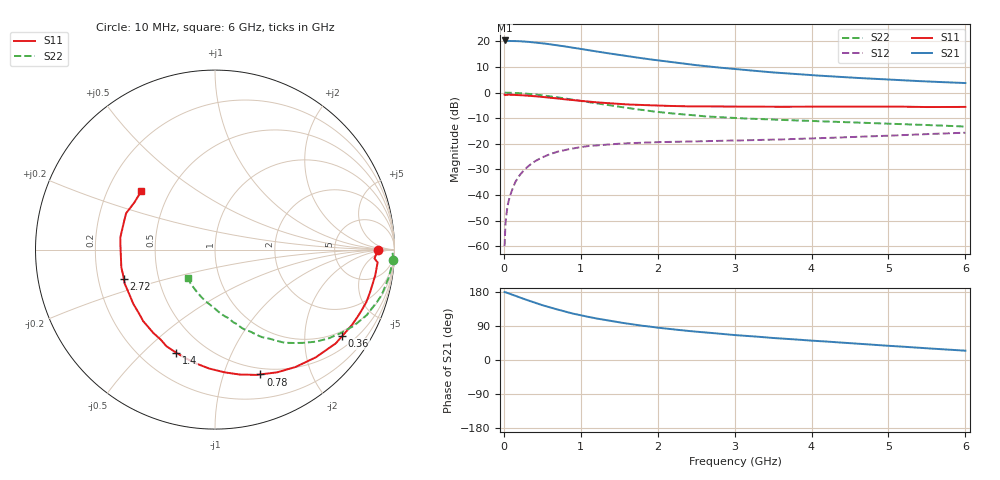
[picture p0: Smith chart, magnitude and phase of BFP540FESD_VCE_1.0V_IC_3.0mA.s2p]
! Infineon Technologies  Discrete & RF Semiconductors
! BFP540FESD
! VCE =  1.0 V,  IC =  3.0 mA
! Common Emitter S-Parameters:  Nov 2015
# GHz  S  MA  R  50
!  f  S11  S21  S12  S22
! GHz  MAG  ANG  MAG  ANG  MAG  ANG  MAG  ANG
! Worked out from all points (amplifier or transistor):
!   210 points, 10 MHz to 6 GHz, reference 50 ohm
!   highest |S21| = 20.3 dB at 10 MHz (marker M1)
!   |S21| within 3 dB of that: start of sweep to 934 MHz
!   unconditionally stable (mu >= 1): 3.101 GHz to end of sweep
!   at 185 MHz: K = 0.04, MSG = 26.6 dB, |S12| = -33.2 dB
!   at 1.52 GHz: K = 0.48, MSG = 17.3 dB, |S12| = -20.0 dB
!   at 6 GHz: K = 1.41, MAG = 5.9 dB, |S12| = -15.7 dB
!   S11 on the Smith chart (normalised r, x): 10 MHz: 21, -1; 360 MHz: 0.84, -3.04; 780 MHz: 0.43, -1.34; 1.4 GHz: 0.34, -0.63; 2.72 GHz: 0.31, -0.14; 6 GHz: 0.35, +0.31
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0.01  0.9083 -0.2  10.38 179.1  0.001 92.0  0.9932 -3.5
0.02  0.8897 -3.2  10.02 178.9  0.0025 108.6  0.9901 -1.3
0.05  0.9089 -4.5  10.16 176.7  0.0063 84.3  0.9899 -3.0
0.09  0.9046 -8.3  10.15 173.7  0.0105 84.1  0.987 -5.5
0.15  0.8966 -15.0  10.16 169.5  0.0179 82.8  0.9806 -9.0
0.3  0.871 -28.8  9.824 158.3  0.0345 74.7  0.9489 -17.8
0.36  0.857 -34.2  9.62 154.2  0.0408 71.3  0.9307 -21.1
0.5  0.8219 -46.9  9.184 144.7  0.0542 64.6  0.8828 -28.7
0.58  0.7973 -53.8  8.814 139.7  0.0608 61.1  0.8503 -32.4
0.78  0.7399 -70.0  7.998 128.6  0.0746 53.2  0.7701 -41.4
0.9  0.7096 -78.8  7.489 122.4  0.0811 49.3  0.7216 -46.0
1.02  0.6807 -86.9  7.016 117.2  0.0866 45.7  0.6772 -50.2
1.2  0.6437 -99.2  6.336 109.7  0.0928 41.1  0.6143 -55.9
1.4  0.6137 -110.7  5.709 102.7  0.0983 37.1  0.5526 -61.9
1.72  0.5757 -127.4  4.848 92.7  0.1033 32.5  0.4719 -70.0
2.02  0.5521 -140.5  4.213 84.9  0.1075 29.5  0.4149 -76.1
2.4  0.5372 -153.8  3.559 76.6  0.1102 27.2  0.3685 -83.0
2.72  0.5334 -162.4  3.157 71.0  0.1134 26.3  0.3354 -88.8
3.1  0.5288 -171.4  2.786 64.4  0.1163 25.5  0.313 -93.9
4.1  0.5308 171.3  2.135 49.9  0.1281 25.2  0.2749 -106.1
5.1  0.5312 156.2  1.762 36.3  0.1457 23.8  0.2442 -118.8
6  0.5239 141.8  1.53 24.6  0.1643 21.7  0.2164 -133.6
